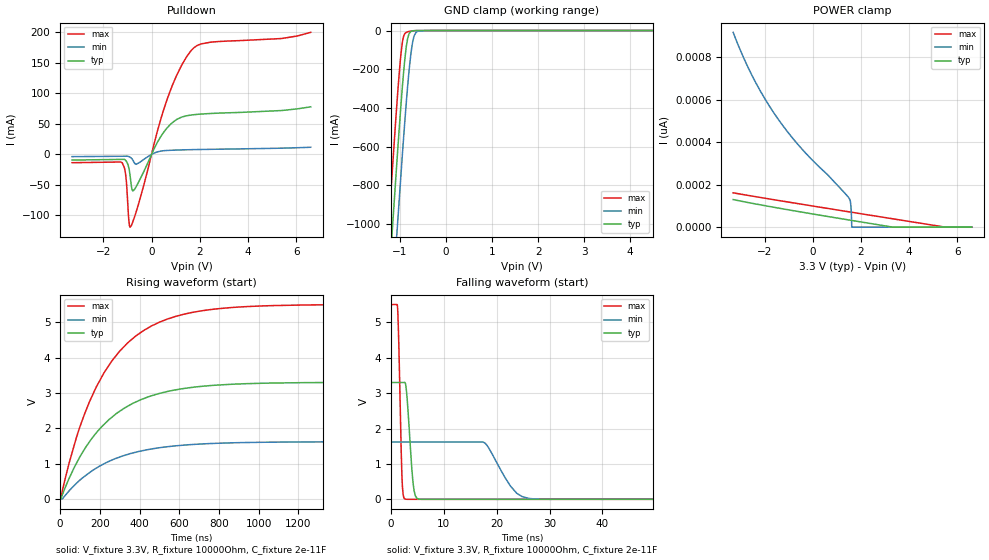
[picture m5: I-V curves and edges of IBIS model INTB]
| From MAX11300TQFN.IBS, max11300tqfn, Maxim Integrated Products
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[Model]   INTB
Model_type   Open_drain
Polarity   Non-Inverting
Vmeas = 1.65
Vref = 3.3
Cref = 20pF
Rref = 10e3
|   typ   min   max
C_comp   5.136e-12   4.536e-12   4.540e-12
|C_comp (ON state)   5.136e-12   4.536e-12   4.540e-12
|C_comp (OFF state)   1.185e-12   1.690e-12   8.285e-13
[Voltage Range]   3.3   1.62   5.5
[Temperature Range]   25   105   -45
[Pullup Reference]   3.3   1.62   5.5
[Pulldown Reference]   0   0   0
[Power Clamp Reference]   3.3   1.62   5.5
[GND Clamp Reference]   0   0   0
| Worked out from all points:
|   slope of the pulldown table from 0 to 0.495 V, typ, clamps not added: 13.9 ohm
|   GND clamp passes 1 mA (typ) near -0.69 V on its own axis
|   falling waveform, V_fixture 3.3V, R_fixture 10000Ohm, C_fixture 2e-11F: 20-80 % time 901ps typ, 3.8ns min, 508ps max; typ from 3.3 V to 0.004 V
|   rising waveform, V_fixture 3.3V, R_fixture 10000Ohm, C_fixture 2e-11F: 20-80 % time 294ns typ, 301ns min, 288ns max; typ from 0.004 V to 3.3 V
[Pulldown]
|   Voltage   I(typ)   I(min)   I(max)
-3.3V     -9.361mA   -3.732mA   -13.67mA
-1.221V   -8.238mA   -3.074mA   -13.75mA
-1.073V   -10.22mA   -3.01mA    -35.14mA
-951mV    -21.48mA   -3.591mA   -106.4mA
-894.3mV  -34.96mA   -4.656mA   -119.3mA
-801.9mV  -58.93mA   -8.083mA   -112.7mA
-699.9mV  -56.87mA   -14.96mA   -101.4mA
656.7mV   44.12mA    6.437mA    91.94mA
1.238V    61mA       7.316mA    145.7mA
1.649V    64.56mA    7.712mA    170.7mA
2.438V    67.02mA    8.275mA    183.9mA
6.597V    77.95mA    11.67mA    200.1mA
[GND Clamp]
|   Voltage   I(typ)   I(min)   I(max)
-3.3V     -8.617A    -8.751A    -8.518A
-1.176V   -1.072A    -1.431A    -765.4mA
-1.082V   -739.1mA   -1.108A    -435.3mA
-1.045V   -609.3mA   -979mA     -312.6mA
-951.5mV  -306.3mA   -658.8mA   -69.83mA
-918.6mV  -212.7mA   -550.5mA   -29.79mA
-857mV    -75.87mA   -359.5mA   -9.116mA
-808.4mV  -21.51mA   -225.8mA   -5.241mA
-729.1mV  -2.267mA   -67.22mA   -1.844mA
-688.6mV  -883.2uA   -26.76mA   -922.3uA
-605.9mV  -149.9uA   -2.676mA   -163.1uA
6.597V    0A         0A         0A
[POWER Clamp]
|   Voltage   I(typ)   I(min)   I(max)
-3.3V     129.9pA    918.2pA    161.8pA
-2.851V   119.8pA    794.3pA    153pA
-2.36V    109.2pA    680.3pA    143.5pA
-1.429V   90pA       508.1pA    126pA
-330mV    68.46pA    353.4pA    105.7pA
1.513V    33.61pA    135.4pA    72.04pA
1.579V    32.38pA    103.3pA    70.83pA
1.599V    32.01pA    66.25pA    70.48pA
1.618V    31.65pA    254.5fA    70.13pA
3.297V    0A         0A         39.74pA
5.495V    0A         0A         0A
6.597V    0A         0A         0A
[Ramp]
R_load = 10000
|   typ   min   max
dV/dt_r   1.9777/2.93525e-07   0.9675/3.00801e-07   3.29782/2.88264e-07
dV/dt_f   1.97784/9.00777e-10   0.96759/3.79513e-09   3.29803/5.08226e-10
[Falling Waveform]
V_fixture = 3.3V
V_fixture_min = 1.62V
V_fixture_max = 5.5V
R_fixture = 10000Ohm
C_fixture = 2e-11F
|   Time   V(typ)   V(min)   V(max)
0s        3.3V       1.62V      5.5V
1.281ns   3.3V       1.62V      5.441V
2.216ns   3.3V       1.62V      361.6mV
3.138ns   2.78V      1.62V      3.939mV
4.424ns   244mV      1.62V      3.376mV
6.231ns   3.916mV    1.62V      3.303mV
17.5ns    3.591mV    1.617V     3.277mV
23.81ns   3.593mV    175.8mV    3.281mV
29.57ns   3.59mV     7.983mV    3.283mV
2us       3.593mV    7.346mV    3.284mV
[Rising Waveform]
V_fixture = 3.3V
V_fixture_min = 1.62V
V_fixture_max = 5.5V
R_fixture = 10000Ohm
C_fixture = 2e-11F
|   Time   V(typ)   V(min)   V(max)
0s        3.593mV    7.346mV    3.284mV
86.86ns   1.062V     470.4mV    1.827V
124.8ns   1.428V     649.8mV    2.432V
181ns     1.866V     870.7mV    3.159V
221ns     2.109V     996.9mV    3.57V
301ns     2.486V     1.19V      4.189V
461ns     2.92V      1.416V     4.896V
621ns     3.123V     1.523V     5.222V
861ns     3.244V     1.589V     5.413V
2us       3.3V       1.62V      5.5V
